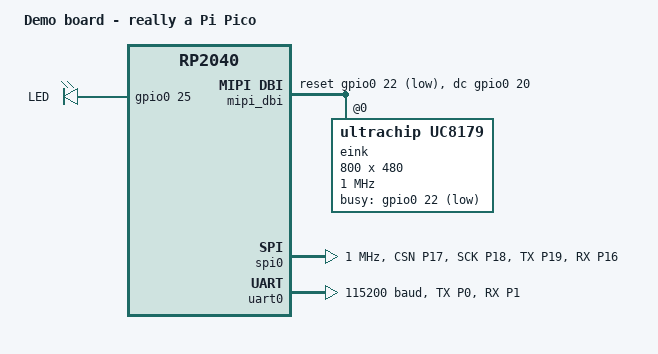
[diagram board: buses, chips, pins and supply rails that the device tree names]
/dts-v1/;
#include <freq.h>
#include <raspberrypi/rpi_pico/rp2040.dtsi>
#include <zephyr/dt-bindings/pwm/pwm.h>
#include <zephyr/dt-bindings/pinctrl/rpi-pico-rp2040-pinctrl.h>
#include <zephyr/dt-bindings/i2c/i2c.h>

/ {
  model = "Demo board - really a Pi Pico";
  compatible = "ar,pico_demo";

  chosen {
   		zephyr,console = &uart0;
		  zephyr,shell-uart = &uart0;
      zephyr,sram = &sram0;
		  zephyr,flash = &flash0;
      zephyr,display = &eink;
  };
 
	leds {
		compatible = "gpio-leds";
		ledg: led_0 {
			gpios = <&gpio0 25 GPIO_ACTIVE_HIGH>;
			label = "LED";
		};
	};

  mipi_dbi {
    compatible = "zephyr,mipi-dbi-spi";
    spi-dev = <&spi0>;
    reset-gpios = <&gpio0 22 GPIO_ACTIVE_LOW>;
    dc-gpios = <&gpio0 20 GPIO_ACTIVE_HIGH>;
    write-only;
    #address-cells = <1>;
    #size-cells = <0>;
    eink: uc8719@0 {
      compatible = "ultrachip,uc8179";
      busy-gpios = <&gpio0 22 GPIO_ACTIVE_LOW>;
      duplex = <2048>; // half duplex.
      reg = <0x0>;
      mipi-max-frequency = <1000000>;
      mipi-mode = "MIPI_DBI_MODE_SPI_4WIRE";
      softstart = [27 27 2F 17];
			width = <800>;
			height = <480>;

      full {
				pwr = [17 17 3F 3F 11];
        vdcs = <0x24>;
        pll = <0x06>;
				//cdi = <0x10>;
				//t_c_o_n = <0x22>;

        lutc = [00 0F 0F 00 00 01 
                00 0F 01 0F 01 02 
                00 0F 0F 00 00 01 
                00 00 00 00 00 00 
                00 00 00 00 00 00 
                00 00 00 00 00 00 
                00 00 00 00 00 00];
        lutww = [10 0F 0F 00 00 01 
                  84 0F 01 0F 01 02 
                  20 0F 0F 00 00 01 
                  00 00 00 00 00 00 
                  00 00 00 00 00 00 
                  00 00 00 00 00 00 
                  00 00 00 00 00 00];
        lutkw = [10  0F  0F  00  00  01  
                84  0F  01  0F  01  02  
                20  0F  0F  00  00  01  
                00  00  00  00  00  00  
                00  00  00  00  00  00  
                00  00  00  00  00  00  
                00  00  00  00  00  00];
        lutwk = [80 0F 0F 00 00 01 
                84 0F 01 0F 01 02 
                40 0F 0F 00 00 01 
                00 00 00 00 00 00 
                00 00 00 00 00 00 
                00 00 00 00 00 00 
                00 00 00 00 00 00];
        lutkk = [80 0F 0F 00 00 01 
                  84 0F 01 0F 01 02 
                  40 0F 0F 00 00 01 
                  00 00 00 00 00 00 
                  00 00 00 00 00 00 
                  00 00 00 00 00 00 
                  00 00 00 00 00 00];

			};

    };
  };

  aliases {
     led0 = &ledg;
  };

};

&spi0 {
	clock-frequency = <DT_FREQ_M(1)>;
	status = "okay";
	pinctrl-0 = <&spi0_default>;
  cs-gpios = <&gpio0 17 GPIO_ACTIVE_LOW>;
	pinctrl-names = "default";
};

&uart0 {
	current-speed = <115200>;
	status = "okay";
	pinctrl-0 = <&uart0_default>;
	pinctrl-names = "default";
};

&flash0 {
	reg = <0x10000000 DT_SIZE_M(2)>;
};

&pinctrl {
	uart0_default: uart0_default {
		group1 {
			pinmux = <UART0_TX_P0>;
		};
		group2 {
			pinmux = <UART0_RX_P1>;
			input-enable;
		};
	};
  spi0_default: spi0_default {
		group1 {
			pinmux = <SPI0_CSN_P17>, <SPI0_SCK_P18>, <SPI0_TX_P19>;
		};
		group2 {
			pinmux = <SPI0_RX_P16>;
			input-enable;
		};
	};
};

&vreg {
	regulator-always-on;
	regulator-allowed-modes = <REGULATOR_RPI_PICO_MODE_NORMAL>;
};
